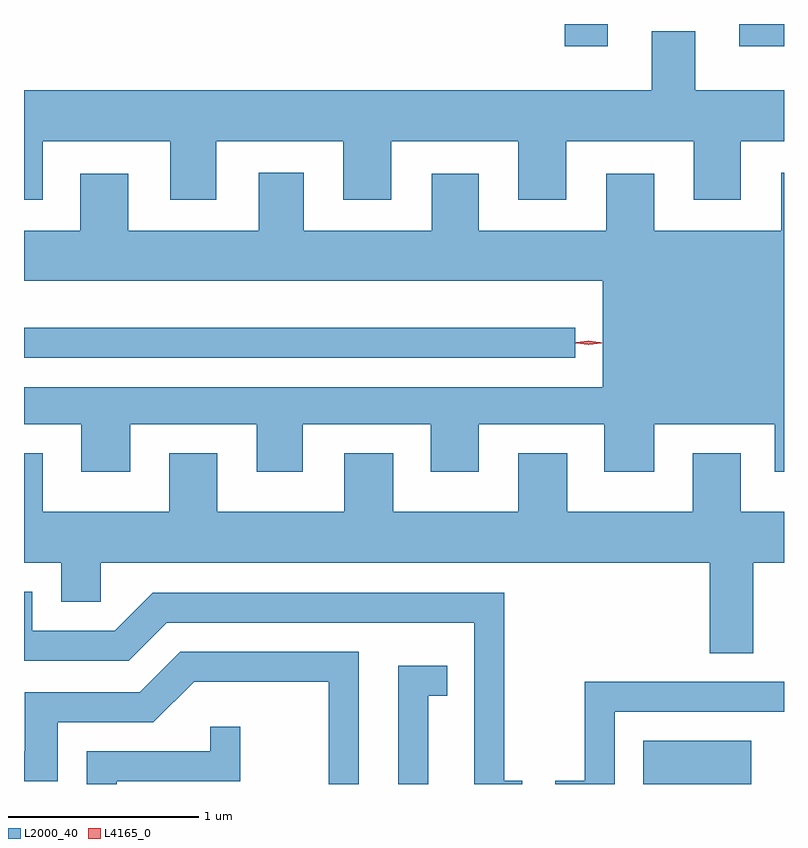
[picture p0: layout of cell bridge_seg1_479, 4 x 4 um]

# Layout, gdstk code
import gdstk
lib = gdstk.Library(unit=1e-6, precision=1e-09)
def R(c, l, rs):  # rectangles x0, y0, x1, y1
    for r in rs: c.add(gdstk.rectangle(r[:2], r[2:], *l))
def P(c, l, *ps):  # polygons
    for p in ps: c.add(gdstk.Polygon(p, *l))
L2000_40 = (2000, 40)
L4165_0 = (4165, 0)

bridge_seg1_479 = lib.new_cell('bridge_seg1_479')
R(bridge_seg1_479, L2000_40, [(609.786,885.092,610.354,885.319), (606.526,887.336,609.428,887.494), (609.371,888.976,609.599,889.092), (610.291,888.976,610.526,889.092)])
P(bridge_seg1_479, L2000_40, [(606.624,888.476),(607.296,888.476),(607.296,888.166),(607.539,888.166),(607.539,888.476),(608.206,888.476),(608.206,888.166),(608.459,888.166),(608.459,888.476),(609.126,888.476),(609.126,888.166),(609.379,888.166),(609.379,888.476),(610.051,888.476),(610.051,888.166),(610.299,888.166),(610.299,888.476),(610.526,888.476),(610.526,888.744),(610.059,888.744),(610.059,889.054),(609.831,889.054),(609.831,888.744),(606.526,888.744),(606.526,888.166),(606.624,888.166)],
  [(607.084,886.986),(607.751,886.986),(607.751,886.736),(607.994,886.736),(607.994,886.986),(608.666,886.986),(608.666,886.736),(608.919,886.736),(608.919,886.986),(609.581,886.986),(609.581,886.736),(609.844,886.736),(609.844,886.986),(610.476,886.986),(610.476,886.736),(610.526,886.736),(610.526,888.309),(610.511,888.309),(610.511,888.004),(609.844,888.004),(609.844,888.304),(609.591,888.304),(609.591,888.004),(608.919,888.004),(608.919,888.304),(608.671,888.304),(608.671,888.004),(607.999,888.004),(607.999,888.309),(607.761,888.309),(607.761,888.004),(607.074,888.004),(607.074,888.304),(606.821,888.304),(606.821,888.004),(606.526,888.004),(606.526,887.741),(609.571,887.741),(609.571,887.179),(606.526,887.179),(606.526,886.986),(606.826,886.986),(606.826,886.736),(607.084,886.736)],
  [(610.364,886.256),(610.526,886.256),(610.526,886.524),(610.299,886.524),(610.299,886.834),(610.046,886.834),(610.046,886.524),(609.384,886.524),(609.384,886.834),(609.126,886.834),(609.126,886.524),(608.469,886.524),(608.469,886.834),(608.211,886.834),(608.211,886.524),(607.544,886.524),(607.544,886.834),(607.291,886.834),(607.291,886.524),(606.624,886.524),(606.624,886.834),(606.526,886.834),(606.526,886.256),(606.721,886.256),(606.721,886.051),(606.929,886.051),(606.929,886.256),(610.136,886.256),(610.136,885.781),(610.364,885.781)],
  [(609.148,885.109),(609.054,885.109),(609.054,886.099),(607.204,886.099),(607.004,885.899),(606.569,885.899),(606.569,886.104),(606.526,886.104),(606.526,885.741),(607.077,885.741),(607.277,885.941),(608.896,885.941),(608.896,885.092),(609.148,885.092)],
  [(608.289,885.789),(607.349,885.789),(607.134,885.574),(606.531,885.574),(606.531,885.264),(606.526,885.264),(606.526,885.106),(606.704,885.106),(606.704,885.416),(607.207,885.416),(607.422,885.631),(608.131,885.631),(608.131,885.092),(608.289,885.092)],
  [(608.654,885.556),(608.753,885.556),(608.753,885.714),(608.496,885.714),(608.496,885.092),(608.654,885.092)],
  [(609.634,885.471),(610.526,885.471),(610.526,885.629),(609.476,885.629),(609.476,885.109),(609.323,885.109),(609.323,885.092),(609.634,885.092)],
  [(607.014,885.106),(607.664,885.106),(607.664,885.393),(607.506,885.393),(607.506,885.264),(606.856,885.264),(606.856,885.092),(607.014,885.092)])
P(bridge_seg1_479, L4165_0, [(609.495,887.405),(609.433,887.414),(609.433,887.415),(609.433,887.416),(609.495,887.425),(609.557,887.416),(609.558,887.416),(609.557,887.415)],
  [(609.499,887.404),(609.43,887.413),(609.429,887.414),(609.43,887.414),(609.499,887.424),(609.567,887.414),(609.568,887.414),(609.567,887.413)])

lib.write_gds('bridge_seg1_479.gds')
